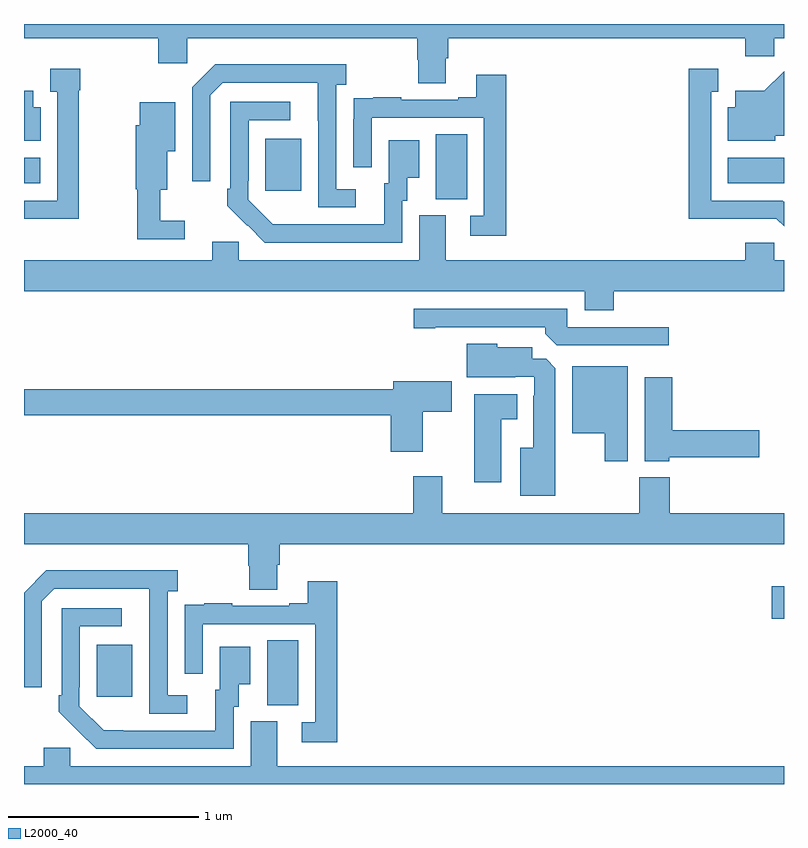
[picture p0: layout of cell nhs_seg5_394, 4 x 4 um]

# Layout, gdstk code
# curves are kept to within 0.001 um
import gdstk
lib = gdstk.Library(unit=1e-6, precision=1e-09)
def R(c, l, rs):  # rectangles x0, y0, x1, y1
    for r in rs: c.add(gdstk.rectangle(r[:2], r[2:], *l))
def P(c, l, *ps):  # polygons
    for p in ps: c.add(gdstk.Polygon(p, *l))
L2000_40 = (2000, 40)

nhs_seg5_394 = lib.new_cell('nhs_seg5_394')
R(nhs_seg5_394, L2000_40, [(136.28,889.213,136.444,889.556), (135.383,889.257,135.571,889.531), (138.936,889.67,139,889.84), (137.168,891.877,137.332,892.22), (136.271,891.921,136.459,892.195), (135,891.962,135.085,892.096), (138.704,891.962,139,892.096)])
P(nhs_seg5_394, L2000_40, [(137.221,892.618),(137.234,892.618),(137.234,892.724),(138.797,892.724),(138.797,892.629),(138.948,892.629),(138.948,892.724),(139,892.724),(139,892.799),(135,892.799),(135,892.724),(135.707,892.724),(135.707,892.593),(135.858,892.593),(135.858,892.724),(137.069,892.724),(137.069,892.611),(137.074,892.611),(137.074,892.486),(137.221,892.486)],
  [(136.747,891.93),(136.644,891.93),(136.644,892.478),(136.696,892.478),(136.696,892.588),(136.006,892.588),(135.885,892.467),(135.885,891.972),(135.981,891.972),(135.981,892.425),(136.047,892.491),(136.547,892.491),(136.548,891.834),(136.747,891.834)],
  [(139,891.863),(138.993,891.87),(138.616,891.87),(138.616,892.443),(138.655,892.443),(138.655,892.564),(138.498,892.564),(138.498,891.773),(138.738,891.773),(138.738,891.774),(138.96,891.774),(139,891.734)],
  [(135.287,892.451),(135.295,892.451),(135.295,892.564),(135.137,892.564),(135.137,892.443),(135.176,892.443),(135.176,891.87),(135,891.87),(135,891.774),(135.054,891.774),(135.054,891.773),(135.287,891.773)],
  [(138.954,892.211),(139,892.211),(139,892.551),(138.998,892.549),(138.895,892.447),(138.743,892.447),(138.743,892.36),(138.704,892.36),(138.704,892.184),(138.954,892.184)],
  [(137.537,892.531),(137.381,892.531),(137.381,892.414),(137.285,892.414),(137.285,892.401),(136.985,892.401),(136.985,892.414),(136.837,892.414),(136.837,892.407),(136.735,892.407),(136.735,892.298),(136.734,892.298),(136.734,892.044),(136.83,892.044),(136.83,892.305),(137.421,892.305),(137.421,891.789),(137.349,891.789),(137.349,891.684),(137.537,891.684)],
  [(135.088,892.36),(135.049,892.36),(135.049,892.447),(135,892.447),(135,892.184),(135.088,892.184)],
  [(136.992,891.87),(137.017,891.87),(137.017,891.989),(137.08,891.989),(137.08,892.186),(136.919,892.186),(136.919,891.96),(136.895,891.96),(136.895,891.744),(136.308,891.745),(136.179,891.873),(136.179,891.973),(136.182,891.973),(136.182,892.293),(136.402,892.293),(136.402,892.389),(136.086,892.389),(136.086,891.931),(136.071,891.931),(136.071,891.843),(136.268,891.648),(136.992,891.648)],
  [(135.847,891.763),(135.718,891.763),(135.718,891.926),(135.754,891.926),(135.754,892.13),(135.796,892.13),(135.796,892.387),(135.608,892.387),(135.608,892.266),(135.589,892.266),(135.589,891.93),(135.597,891.93),(135.597,891.666),(135.847,891.666)],
  [(138.104,891.392),(139,891.392),(139,891.556),(138.948,891.556),(138.948,891.649),(138.797,891.649),(138.797,891.556),(137.221,891.556),(137.221,891.792),(137.081,891.792),(137.081,891.556),(136.131,891.556),(136.131,891.654),(135.992,891.654),(135.992,891.556),(135,891.556),(135,891.392),(137.951,891.392),(137.951,891.293),(138.104,891.293)],
  [(138.394,891.204),(137.859,891.204),(137.859,891.3),(137.052,891.3),(137.052,891.199),(137.164,891.199),(137.164,891.204),(137.744,891.204),(137.744,891.17),(137.805,891.108),(138.394,891.108)],
  [(137.797,890.987),(137.748,891.036),(137.674,891.036),(137.674,891.097),(137.49,891.097),(137.49,891.115),(137.33,891.115),(137.33,890.939),(137.585,890.939),(137.585,890.943),(137.685,890.943),(137.685,890.843),(137.681,890.843),(137.681,890.569),(137.612,890.569),(137.612,890.315),(137.797,890.315)],
  [(138.178,890.998),(137.885,890.998),(137.885,890.645),(138.056,890.645),(138.056,890.499),(138.178,890.499)],
  [(138.396,890.518),(138.871,890.518),(138.871,890.66),(138.413,890.66),(138.413,890.941),(138.266,890.941),(138.266,890.498),(138.396,890.498)],
  [(137.098,890.758),(137.251,890.758),(137.251,890.92),(136.943,890.92),(136.943,890.876),(135,890.876),(135,890.74),(136.931,890.74),(136.931,890.547),(137.098,890.547)],
  [(137.512,890.72),(137.596,890.72),(137.596,890.851),(137.369,890.851),(137.369,890.388),(137.512,890.388)],
  [(136.333,889.954),(136.346,889.954),(136.346,890.06),(139,890.06),(139,890.224),(138.398,890.224),(138.398,890.413),(138.238,890.413),(138.238,890.224),(137.2,890.224),(137.2,890.419),(137.048,890.419),(137.048,890.224),(135,890.224),(135,890.06),(136.181,890.06),(136.181,889.947),(136.186,889.947),(136.186,889.822),(136.333,889.822)],
  [(135.859,889.266),(135.756,889.266),(135.756,889.814),(135.808,889.814),(135.808,889.924),(135.118,889.924),(135,889.806),(135,889.308),(135.093,889.308),(135.093,889.761),(135.159,889.827),(135.659,889.827),(135.66,889.17),(135.859,889.17)],
  [(136.649,889.867),(136.493,889.867),(136.493,889.75),(136.397,889.75),(136.397,889.737),(136.097,889.737),(136.097,889.75),(135.949,889.75),(135.949,889.743),(135.847,889.743),(135.847,889.634),(135.846,889.634),(135.846,889.38),(135.942,889.38),(135.942,889.641),(136.533,889.641),(136.533,889.125),(136.461,889.125),(136.461,889.02),(136.649,889.02)],
  [(136.104,889.206),(136.129,889.206),(136.129,889.325),(136.192,889.325),(136.192,889.522),(136.031,889.522),(136.031,889.296),(136.007,889.296),(136.007,889.08),(135.42,889.081),(135.291,889.209),(135.291,889.309),(135.294,889.309),(135.294,889.629),(135.514,889.629),(135.514,889.725),(135.198,889.725),(135.198,889.267),(135.183,889.267),(135.183,889.179),(135.38,888.984),(136.104,888.984)],
  [(136.333,889.128),(136.193,889.128),(136.193,888.892),(135.243,888.892),(135.243,888.99),(135.104,888.99),(135.104,888.892),(135,888.892),(135,888.799),(139,888.799),(139,888.892),(136.333,888.892)])

lib.write_gds('nhs_seg5_394.gds')
